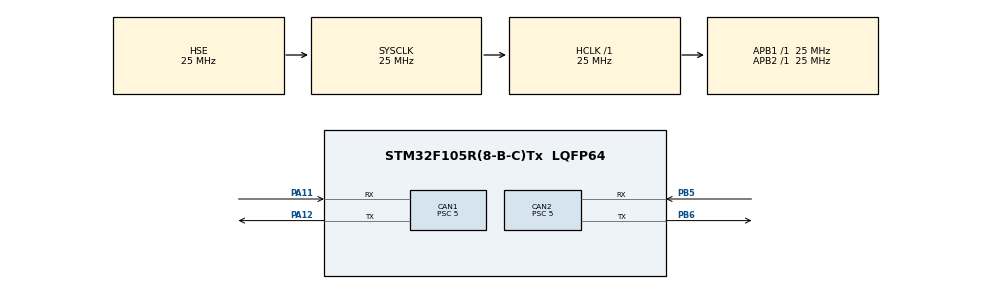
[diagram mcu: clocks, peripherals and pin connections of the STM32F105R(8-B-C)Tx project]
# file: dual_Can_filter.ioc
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CAN1.BS1=CAN_BS1_14TQ
CAN1.BS2=CAN_BS2_5TQ
CAN1.CalculateBaudRate=250000
CAN1.CalculateTimeBit=4000.00
CAN1.CalculateTimeQuantum=200.0
CAN1.Prescaler=5
CAN2.BS1=CAN_BS1_14TQ
CAN2.BS2=CAN_BS2_5TQ
CAN2.CalculateBaudRate=250000
CAN2.CalculateTimeBit=4000.00
CAN2.CalculateTimeQuantum=200.0
CAN2.Prescaler=5
Mcu.Family=STM32F1
Mcu.Name=STM32F105R(8-B-C)Tx
Mcu.Package=LQFP64
NVIC.CAN1_RX0_IRQn=true\:0\:0\:false\:false\:true\:true\:true
NVIC.PriorityGroup=NVIC_PRIORITYGROUP_4
PA11.Mode=CAN_Activate
PA11.Signal=CAN1_RX
PA12.Mode=CAN_Activate
PA12.Signal=CAN1_TX
PA13.Mode=Serial_Wire
PA13.Signal=SYS_JTMS-SWDIO
PA14.Mode=Serial_Wire
PA14.Signal=SYS_JTCK-SWCLK
PB5.Mode=CAN_Activate
PB5.Signal=CAN2_RX
PB6.Mode=CAN_Activate
PB6.Signal=CAN2_TX
PD0-OSC_IN.Mode=HSE-External-Oscillator
PD0-OSC_IN.Signal=RCC_OSC_IN
PD1-OSC_OUT.Mode=HSE-External-Oscillator
PD1-OSC_OUT.Signal=RCC_OSC_OUT
ProjectManager.HeapSize=0x200
ProjectManager.StackSize=0x400
ProjectManager.TargetToolchain=STM32CubeIDE
RCC.AHBFreq_Value=25000000
RCC.APB1Freq_Value=25000000
RCC.APB1TimFreq_Value=25000000
RCC.APB2Freq_Value=25000000
RCC.APB2TimFreq_Value=25000000
RCC.HCLKFreq_Value=25000000
RCC.HSE_VALUE=25000000
RCC.PLLSourceVirtual=RCC_PLLSOURCE_HSE
RCC.SYSCLKFreq_VALUE=25000000
RCC.SYSCLKSource=RCC_SYSCLKSOURCE_HSE
RCC.USBFreq_Value=66666666.666666664
board=custom

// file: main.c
/* USER CODE BEGIN Header */
/**
  ******************************************************************************
  * @file           : main.c
  * @brief          : Main program body
  ******************************************************************************
  * @attention
  *
  * <h2><center>&copy; Copyright (c) 2020 STMicroelectronics.
  * All rights reserved.</center></h2>
  *
  * This software component is licensed by ST under BSD 3-Clause license,
  * the "License"; You may not use this file except in compliance with the
  * License. You may obtain a copy of the License at:
  *                        opensource.org/licenses/BSD-3-Clause
  *
  ******************************************************************************
  */
/* USER CODE END Header */
#include "main.h"

CAN_HandleTypeDef hcan1;
CAN_HandleTypeDef hcan2;

/* USER CODE BEGIN PV */
CAN_TxHeaderTypeDef   TxHeader;
CAN_RxHeaderTypeDef   RxHeader;
uint8_t               TxData[8];
uint8_t               RxData[8];
uint32_t              TxMailbox;
/* USER CODE END PV */

void SystemClock_Config(void);
static void MX_GPIO_Init(void);
static void MX_CAN1_Init(void);
static void MX_CAN2_Init(void);

int main(void)
{

  /* MCU Configuration--------------------------------------------------------*/

  /* Reset of all peripherals, Initializes the Flash interface and the Systick. */
  HAL_Init();

  /* Configure the system clock */
  SystemClock_Config();

  /* Initialize all configured peripherals */
  MX_GPIO_Init();
  MX_CAN1_Init();
  MX_CAN2_Init();
  /* USER CODE BEGIN 2 */
  //TxData[0] = 0x01;
  /* USER CODE END 2 */

  /* Infinite loop */
  while (1)
  {

  }
}

void SystemClock_Config(void)
{
  RCC_OscInitTypeDef RCC_OscInitStruct = {0};
  RCC_ClkInitTypeDef RCC_ClkInitStruct = {0};

  /** Initializes the RCC Oscillators according to the specified parameters
  * in the RCC_OscInitTypeDef structure.
  */
  RCC_OscInitStruct.OscillatorType = RCC_OSCILLATORTYPE_HSE;
  RCC_OscInitStruct.HSEState = RCC_HSE_ON;
  RCC_OscInitStruct.PLL.PLLState = RCC_PLL_NONE;
  RCC_OscInitStruct.PLL2.PLL2State = RCC_PLL_NONE;
  if (HAL_RCC_OscConfig(&RCC_OscInitStruct) != HAL_OK)
  {
    Error_Handler();
  }
  /** Initializes the CPU, AHB and APB buses clocks
  */
  RCC_ClkInitStruct.ClockType = RCC_CLOCKTYPE_HCLK|RCC_CLOCKTYPE_SYSCLK
                              |RCC_CLOCKTYPE_PCLK1|RCC_CLOCKTYPE_PCLK2;
  RCC_ClkInitStruct.SYSCLKSource = RCC_SYSCLKSOURCE_HSE;
  RCC_ClkInitStruct.AHBCLKDivider = RCC_SYSCLK_DIV1;
  RCC_ClkInitStruct.APB1CLKDivider = RCC_HCLK_DIV1;
  RCC_ClkInitStruct.APB2CLKDivider = RCC_HCLK_DIV1;

  if (HAL_RCC_ClockConfig(&RCC_ClkInitStruct, FLASH_LATENCY_1) != HAL_OK)
  {
    Error_Handler();
  }
  /** Configure the Systick interrupt time
  */
  __HAL_RCC_PLLI2S_ENABLE();
}

static void MX_CAN1_Init(void)
{

  /* USER CODE BEGIN CAN1_Init 0 */
  CAN_FilterTypeDef  sFilterConfig;
  /* USER CODE END CAN1_Init 0 */

  hcan1.Instance = CAN1;
  hcan1.Init.Prescaler = 5;
  hcan1.Init.Mode = CAN_MODE_NORMAL;
  hcan1.Init.SyncJumpWidth = CAN_SJW_1TQ;
  hcan1.Init.TimeSeg1 = CAN_BS1_14TQ;
  hcan1.Init.TimeSeg2 = CAN_BS2_5TQ;
  hcan1.Init.TimeTriggeredMode = DISABLE;
  hcan1.Init.AutoBusOff = DISABLE;
  hcan1.Init.AutoWakeUp = DISABLE;
  hcan1.Init.AutoRetransmission = DISABLE;
  hcan1.Init.ReceiveFifoLocked = DISABLE;
  hcan1.Init.TransmitFifoPriority = DISABLE;
  if (HAL_CAN_Init(&hcan1) != HAL_OK)
  {
    Error_Handler();
  }
  /* USER CODE BEGIN CAN1_Init 2 */

  if (HAL_CAN_Init(&hcan1) != HAL_OK)
  {
    /* Initialization Error */
    Error_Handler();
  }

  /* Configure the CAN Filter */
  sFilterConfig.FilterBank = 0;
  sFilterConfig.FilterMode = CAN_FILTERMODE_IDMASK;
  sFilterConfig.FilterScale = CAN_FILTERSCALE_32BIT;
  sFilterConfig.FilterIdHigh = 0x0000;
  sFilterConfig.FilterIdLow = 0x0000;
  sFilterConfig.FilterMaskIdHigh = 0x0000;
  sFilterConfig.FilterMaskIdLow = 0x0000;
  sFilterConfig.FilterFIFOAssignment = CAN_RX_FIFO0;
  sFilterConfig.FilterActivation = ENABLE;
  sFilterConfig.SlaveStartFilterBank = 14;

  if (HAL_CAN_ConfigFilter(&hcan1, &sFilterConfig) != HAL_OK)
  {
    /* Filter configuration Error */
    Error_Handler();
  }

  /* Start the CAN peripheral */
  if (HAL_CAN_Start(&hcan1) != HAL_OK)
  {
    /* Start Error */
    Error_Handler();
  }

  /* Activate CAN RX notification */
  if (HAL_CAN_ActivateNotification(&hcan1, CAN_IT_RX_FIFO0_MSG_PENDING) != HAL_OK)
  {
    /* Notification Error */
    Error_Handler();
  }
  /* USER CODE END CAN1_Init 2 */

}

static void MX_CAN2_Init(void)
{

  hcan2.Instance = CAN2;
  hcan2.Init.Prescaler = 5;
  hcan2.Init.Mode = CAN_MODE_NORMAL;
  hcan2.Init.SyncJumpWidth = CAN_SJW_1TQ;
  hcan2.Init.TimeSeg1 = CAN_BS1_14TQ;
  hcan2.Init.TimeSeg2 = CAN_BS2_5TQ;
  hcan2.Init.TimeTriggeredMode = DISABLE;
  hcan2.Init.AutoBusOff = DISABLE;
  hcan2.Init.AutoWakeUp = DISABLE;
  hcan2.Init.AutoRetransmission = DISABLE;
  hcan2.Init.ReceiveFifoLocked = DISABLE;
  hcan2.Init.TransmitFifoPriority = DISABLE;

  if (HAL_CAN_Init(&hcan2) != HAL_OK)
  {
    Error_Handler();
  }
  /* USER CODE BEGIN CAN2_Init 2 */

  /* Start the CAN peripheral */
  if (HAL_CAN_Start(&hcan2) != HAL_OK)
  {
    /* Start Error */
    Error_Handler();
  }

  /* Configure Transmission process */
  TxHeader.StdId = 0x111;
  TxHeader.ExtId = 0x01;
  TxHeader.RTR = CAN_RTR_DATA;
  TxHeader.IDE = CAN_ID_STD;
  TxHeader.DLC = 8;
  TxHeader.TransmitGlobalTime = DISABLE;
  /* USER CODE END CAN2_Init 2 */

}
/**
  * @brief  Rx Fifo 0 message pending callback in non blocking mode
  * @param  hcan1: pointer to a CAN_HandleTypeDef structure that contains
  *         the configuration information for the specified CAN.
  * @retval None
  */
void HAL_CAN_RxFifo0MsgPendingCallback(CAN_HandleTypeDef *hcan1)
{
  /* Get RX message */
  if (HAL_CAN_GetRxMessage(hcan1, CAN_RX_FIFO0, &RxHeader, RxData) != HAL_OK)
  {
    /* Reception Error */
    Error_Handler();
  }

  /* Display LEDx */
  if ((RxHeader.StdId == 0x321) /*&& (RxHeader.IDE == CAN_ID_STD) && (RxHeader.DLC == 2)*/)
  {
    //LED_Display(RxData[0]);
    //ubKeyNumber = RxData[0];
  }else{
	  int i;
	  for (i=0;i<8;i++)
	     {
		  TxData[i] = RxData[i];
	     }
	  TxHeader.StdId = RxHeader.StdId + 1;
	  /* Start the Transmission process */
	   if (HAL_CAN_AddTxMessage(&hcan2, &TxHeader, TxData, &TxMailbox) != HAL_OK)
	     {
	      /* Transmission request Error */
	      Error_Handler();
	      }
  }
}

static void MX_GPIO_Init(void)
{

  /* GPIO Ports Clock Enable */
  __HAL_RCC_GPIOD_CLK_ENABLE();
  __HAL_RCC_GPIOA_CLK_ENABLE();
  __HAL_RCC_GPIOB_CLK_ENABLE();

}

void Error_Handler(void)
{
  __disable_irq();
  while (1)
  {
  }
}

/************************ (C) COPYRIGHT STMicroelectronics *****END OF FILE****/
